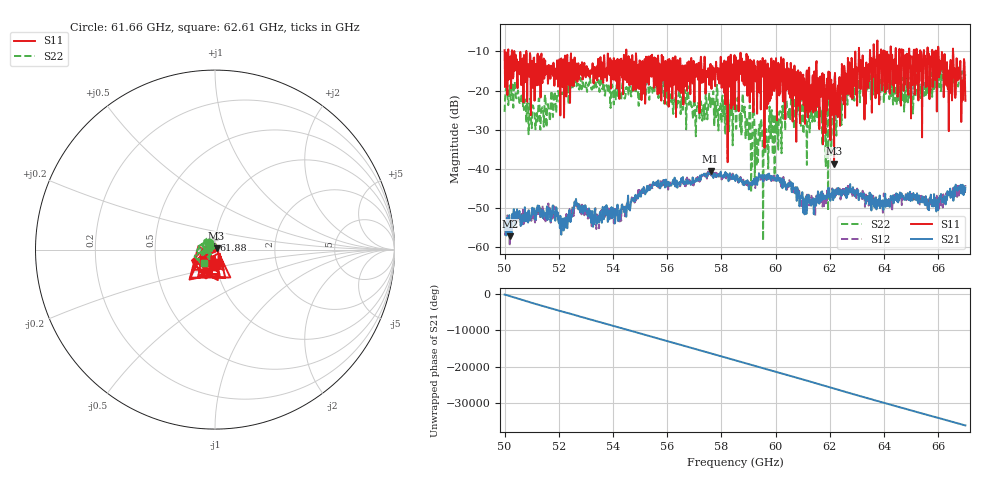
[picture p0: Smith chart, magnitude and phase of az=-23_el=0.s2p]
!Created with skrf (http://scikit-rf.org).
# GHz S RI R 50.0
!freq ReS11 ImS11 ReS21 ImS21 ReS12 ImS12 ReS22 ImS22
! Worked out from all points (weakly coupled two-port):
!   1001 points, 50 GHz to 67 GHz, reference 50 ohm
!   highest |S21| = -40.53 dB at 57.6 GHz (marker M1); lowest = -57.2 dB at 50.2 GHz (marker M2)
!   lowest |S11| = -38.6 dB at 62.16 GHz (marker M3), VSWR 1.02, Z = 50.9 + j0.752 ohm
!   |S11| at or under -10 dB: 50.8 GHz to 54.49 GHz (3.685 GHz wide, 7 % of centre); 54.49 GHz to 63.07 GHz (8.58 GHz wide, 14.6 % of centre); 66.01 GHz to 66.54 GHz (529.6 MHz wide, 0.799 % of centre) (the widest 3 of 28)
!   |S22| runs from -58.2 to -13.8 dB; largest |S21 - S12| = 0.0019
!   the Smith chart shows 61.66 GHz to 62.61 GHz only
!   S11 on the Smith chart (normalised r, x): 61.66 GHz: 0.98, -0.16; 61.88 GHz: 0.98, +0.11; 62.61 GHz: 0.87, -0.10
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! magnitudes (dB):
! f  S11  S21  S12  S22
! 50 GHz  -9.7  -55.6  -56.7  -25.4
! 50.2 GHz  -11.5  -57.2  -56.2  -20.0
! 51.07 GHz  -11.7  -51.4  -50.2  -24.5
! 52.18 GHz  -12.0  -55.7  -53.8  -20.4
! 52.84 GHz  -13.5  -50.7  -51.6  -19.7
! 54.1 GHz  -17.5  -50.9  -52.1  -22.2
! 55.68 GHz  -13.4  -42.9  -44.7  -21.9
! 57.12 GHz  -13.8  -42.8  -42.0  -24.1
! 57.6 GHz  -13.2  -40.5  -41.1  -24.2
! 58.5 GHz  -24.7  -42.3  -42.7  -23.8
! 59.61 GHz  -12.4  -41.6  -42.0  -35.0
! 59.84 GHz  -11.8  -41.8  -43.0  -25.2
! 60.03 GHz  -14.6  -42.5  -43.1  -30.9
! 60.34 GHz  -14.4  -43.2  -43.7  -25.4
! 61.34 GHz  -24.9  -48.8  -47.4  -25.5
! 61.66 GHz  -21.7  -46.0  -47.4  -26.4
! 61.88 GHz  -25.1  -46.7  -48.0  -23.2
! 62.16 GHz  -38.6  -46.0  -45.7  -28.4
! 62.61 GHz  -20.9  -47.4  -44.8  -20.3
! 64.18 GHz  -17.8  -48.3  -47.6  -18.6
! 66.06 GHz  -15.7  -46.9  -48.9  -14.8
! 67 GHz  -22.6  -44.8  -44.1  -15.9
